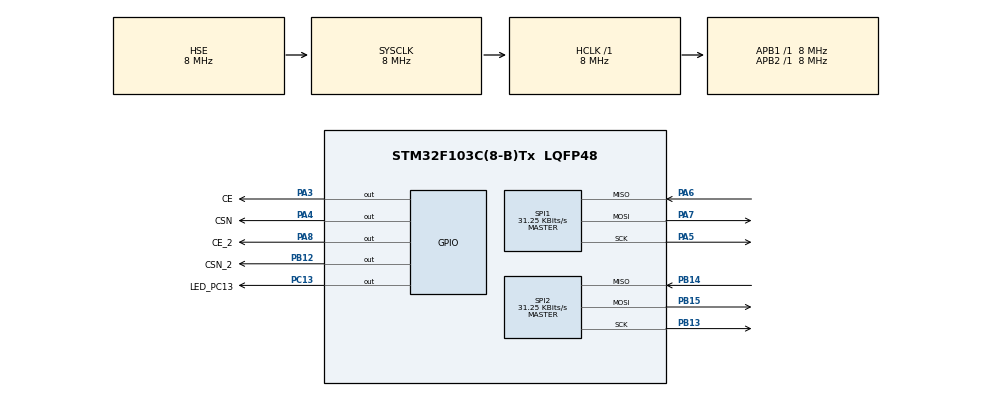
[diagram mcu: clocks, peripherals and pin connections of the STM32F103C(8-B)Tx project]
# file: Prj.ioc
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Mcu.Family=STM32F1
Mcu.Name=STM32F103C(8-B)Tx
Mcu.Package=LQFP48
NVIC.PriorityGroup=NVIC_PRIORITYGROUP_4
PA13.Mode=Trace_Asynchronous_SW
PA13.Signal=SYS_JTMS-SWDIO
PA14.Mode=Trace_Asynchronous_SW
PA14.Signal=SYS_JTCK-SWCLK
PA3.GPIO_Label=CE
PA3.Signal=GPIO_Output
PA4.GPIO_Label=CSN
PA4.PinState=GPIO_PIN_SET
PA4.Signal=GPIO_Output
PA5.Mode=Full_Duplex_Master
PA5.Signal=SPI1_SCK
PA6.Mode=Full_Duplex_Master
PA6.Signal=SPI1_MISO
PA7.Mode=Full_Duplex_Master
PA7.Signal=SPI1_MOSI
PA8.GPIO_Label=CE_2
PA8.Signal=GPIO_Output
PB12.GPIO_Label=CSN_2
PB12.Signal=GPIO_Output
PB13.Mode=Full_Duplex_Master
PB13.Signal=SPI2_SCK
PB14.Mode=Full_Duplex_Master
PB14.Signal=SPI2_MISO
PB15.Mode=Full_Duplex_Master
PB15.Signal=SPI2_MOSI
PB3.Mode=Trace_Asynchronous_SW
PB3.Signal=SYS_JTDO-TRACESWO
PC13-TAMPER-RTC.GPIO_Label=LED_PC13
PC13-TAMPER-RTC.Signal=GPIO_Output
PD0-OSC_IN.Mode=HSE-External-Oscillator
PD0-OSC_IN.Signal=RCC_OSC_IN
PD1-OSC_OUT.Mode=HSE-External-Oscillator
PD1-OSC_OUT.Signal=RCC_OSC_OUT
ProjectManager.HeapSize=0x200
ProjectManager.StackSize=0x400
ProjectManager.TargetToolchain=MDK-ARM V5.27
RCC.AHBFreq_Value=8000000
RCC.APB1Freq_Value=8000000
RCC.APB1TimFreq_Value=8000000
RCC.APB2Freq_Value=8000000
RCC.APB2TimFreq_Value=8000000
RCC.HCLKFreq_Value=8000000
RCC.PLLSourceVirtual=RCC_PLLSOURCE_HSE
RCC.SYSCLKFreq_VALUE=8000000
RCC.SYSCLKSource=RCC_SYSCLKSOURCE_HSE
RCC.USBFreq_Value=16000000
SPI1.BaudRatePrescaler=SPI_BAUDRATEPRESCALER_256
SPI1.CalculateBaudRate=31.25 KBits/s
SPI1.Direction=SPI_DIRECTION_2LINES
SPI1.Mode=SPI_MODE_MASTER
SPI1.VirtualType=VM_MASTER
SPI2.BaudRatePrescaler=SPI_BAUDRATEPRESCALER_256
SPI2.CalculateBaudRate=31.25 KBits/s
SPI2.Direction=SPI_DIRECTION_2LINES
SPI2.Mode=SPI_MODE_MASTER
SPI2.VirtualType=VM_MASTER
board=custom

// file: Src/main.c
/* USER CODE BEGIN Header */
/**
  ******************************************************************************
  * @file           : main.c
  * @brief          : Main program body
  ******************************************************************************
  * @attention
  *
  * <h2><center>&copy; Copyright (c) 2020 STMicroelectronics.
  * All rights reserved.</center></h2>
  *
  * This software component is licensed by ST under BSD 3-Clause license,
  * the "License"; You may not use this file except in compliance with the
  * License. You may obtain a copy of the License at:
  *                        opensource.org/licenses/BSD-3-Clause
  *
  ******************************************************************************
  */
/* USER CODE END Header */
#include <string.h>
#include "main.h"
#include "spi.h"
#include "gpio.h"

/* USER CODE BEGIN Includes */
#include "nRF24L01.h"
/* USER CODE END Includes */

/* USER CODE BEGIN PM */
#define LED_ON    HAL_GPIO_WritePin(LED_PC13_GPIO_Port, LED_PC13_Pin, GPIO_PIN_RESET);
#define LED_OFF   HAL_GPIO_WritePin(LED_PC13_GPIO_Port, LED_PC13_Pin, GPIO_PIN_SET);
#define LED_TOGGLE  HAL_GPIO_TogglePin(LED_PC13_GPIO_Port, LED_PC13_Pin);
/* USER CODE END PM */

/* USER CODE BEGIN PV */
t_nRF24L01 nRF_1;
t_nRF24L01 nRF_2;

uint16_t wr_counter = 0;
uint16_t rd_counter = 0;
uint8_t wr_buf[32] = {0};
uint8_t rd_buf[32] = {0};
/* USER CODE END PV */

void SystemClock_Config(void);

/* USER CODE BEGIN 0 */
// module 1
void CsSetLo(void)
{ HAL_GPIO_WritePin(CE_GPIO_Port, CE_Pin, GPIO_PIN_RESET); }
void CsSetHi(void)
{ HAL_GPIO_WritePin(CE_GPIO_Port, CE_Pin, GPIO_PIN_SET); }

void CsnSetLo(void)
{ HAL_GPIO_WritePin(CSN_GPIO_Port, CSN_Pin, GPIO_PIN_RESET); }
void CsnSetHi(void)
{ HAL_GPIO_WritePin(CSN_GPIO_Port, CSN_Pin, GPIO_PIN_SET); }

void SPI_Transmit(uint8_t *data, uint16_t size)
{
  HAL_SPI_Transmit(&hspi1, data, size, 100);
}
void SPI_Receive(uint8_t *data, uint16_t size)
{
  HAL_SPI_Receive(&hspi1, data, size, 100);
}
// module 2
void Cs2SetLo(void)
{ HAL_GPIO_WritePin(CE_2_GPIO_Port, CE_2_Pin, GPIO_PIN_RESET); }
void Cs2SetHi(void)
{ HAL_GPIO_WritePin(CE_2_GPIO_Port, CE_2_Pin, GPIO_PIN_SET); }

void Csn2SetLo(void)
{ HAL_GPIO_WritePin(CSN_2_GPIO_Port, CSN_2_Pin, GPIO_PIN_RESET); }
void Csn2SetHi(void)
{ HAL_GPIO_WritePin(CSN_2_GPIO_Port, CSN_2_Pin, GPIO_PIN_SET); }

void SPI2_Transmit(uint8_t *data, uint16_t size)
{
  HAL_SPI_Transmit(&hspi2, data, size, 100);
}
void SPI2_Receive(uint8_t *data, uint16_t size)
{
  HAL_SPI_Receive(&hspi2, data, size, 100);
}

void ReceiveEvent_1(uint8_t *data, uint16_t size)
{

}

void ReceiveEvent_2(uint8_t *data, uint16_t size)
{
  LED_TOGGLE;
  memcpy((void*)&rd_buf, data, size);
//  rd_counter = *data;
}

// TODO нужно переделать под микросекунды
void DelayCallback(uint8_t delay_ms)
{
  HAL_Delay(delay_ms);
}
/* USER CODE END 0 */

int main(void)
{
  /* USER CODE BEGIN 1 */
  uint32_t ticks = HAL_GetTick();
  uint8_t i = 0;
  for(i = 0; i < 32; ++i)
  {
    wr_buf[i] = rd_buf[i] = i;
  }
//uint8_t buf[2] = {0xF1, 0xF2};
  /* USER CODE END 1 */

  /* MCU Configuration--------------------------------------------------------*/

  /* Reset of all peripherals, Initializes the Flash interface and the Systick. */
  HAL_Init();

  /* Configure the system clock */
  SystemClock_Config();

  /* Initialize all configured peripherals */
  MX_GPIO_Init();
  MX_SPI1_Init();
  MX_SPI2_Init();

  /* Infinite loop */
  /* USER CODE BEGIN WHILE */
  HAL_Delay(100);

  HAL_GPIO_WritePin(LED_PC13_GPIO_Port, LED_PC13_Pin, GPIO_PIN_SET);
  nRF_Setup(&nRF_1, true, CsSetHi, CsSetLo, CsnSetHi, CsnSetLo, SPI_Transmit, SPI_Receive, ReceiveEvent_1, DelayCallback);
  nRF_Setup(&nRF_2, false, Cs2SetHi, Cs2SetLo, Csn2SetHi, Csn2SetLo, SPI2_Transmit, SPI2_Receive, ReceiveEvent_2, DelayCallback);

  while(1)
  {
    if( (HAL_GetTick() - ticks) > 10)
    {
      ticks = HAL_GetTick();
      memcpy(wr_buf, (void*)&wr_counter, 2);
      memcpy(&wr_buf[30], (void*)&wr_counter, 2);
      nRf_SendData(&nRF_1, (uint8_t*)&wr_buf, 32);
      ++wr_counter;
    }

    nRf_RUN(&nRF_1);
    nRf_RUN(&nRF_2);

    /* USER CODE END WHILE */

  }
}

void SystemClock_Config(void)
{
  RCC_OscInitTypeDef RCC_OscInitStruct = {0};
  RCC_ClkInitTypeDef RCC_ClkInitStruct = {0};

  /** Initializes the RCC Oscillators according to the specified parameters
  * in the RCC_OscInitTypeDef structure.
  */
  RCC_OscInitStruct.OscillatorType = RCC_OSCILLATORTYPE_HSE;
  RCC_OscInitStruct.HSEState = RCC_HSE_ON;
  RCC_OscInitStruct.PLL.PLLState = RCC_PLL_NONE;
  if (HAL_RCC_OscConfig(&RCC_OscInitStruct) != HAL_OK)
  {
    Error_Handler();
  }
  /** Initializes the CPU, AHB and APB buses clocks
  */
  RCC_ClkInitStruct.ClockType = RCC_CLOCKTYPE_HCLK|RCC_CLOCKTYPE_SYSCLK
                              |RCC_CLOCKTYPE_PCLK1|RCC_CLOCKTYPE_PCLK2;
  RCC_ClkInitStruct.SYSCLKSource = RCC_SYSCLKSOURCE_HSE;
  RCC_ClkInitStruct.AHBCLKDivider = RCC_SYSCLK_DIV1;
  RCC_ClkInitStruct.APB1CLKDivider = RCC_HCLK_DIV1;
  RCC_ClkInitStruct.APB2CLKDivider = RCC_HCLK_DIV1;

  if (HAL_RCC_ClockConfig(&RCC_ClkInitStruct, FLASH_LATENCY_0) != HAL_OK)
  {
    Error_Handler();
  }
}

void Error_Handler(void)
{
}

/************************ (C) COPYRIGHT STMicroelectronics *****END OF FILE****/
